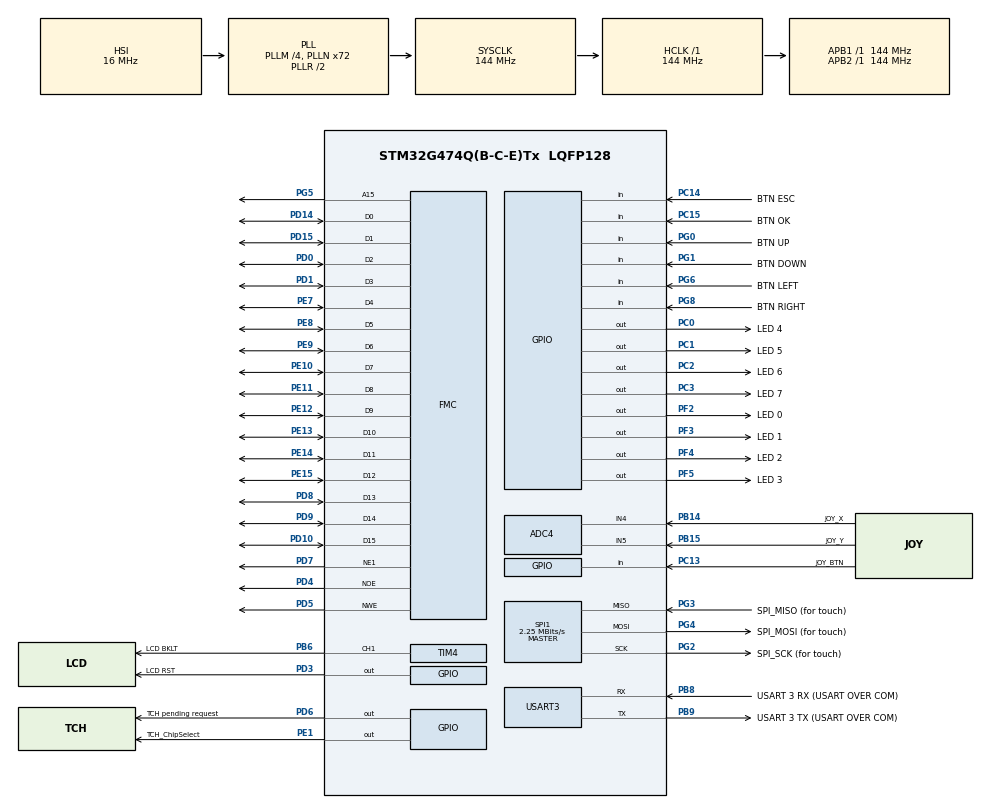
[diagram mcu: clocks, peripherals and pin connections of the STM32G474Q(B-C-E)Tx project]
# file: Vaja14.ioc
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ADC4.Channel-0\#ChannelRegularConversion=ADC_CHANNEL_4
ADC4.Channel-1\#ChannelRegularConversion=ADC_CHANNEL_5
ADC4.DMAContinuousRequests=ENABLE
ADC4.ExternalTrigConv=ADC_EXTERNALTRIG_T1_TRGO
ADC4.NbrOfConversion=2
ADC4.NbrOfConversionFlag=1
ADC4.OffsetNumber-0\#ChannelRegularConversion=ADC_OFFSET_NONE
ADC4.OffsetNumber-1\#ChannelRegularConversion=ADC_OFFSET_NONE
ADC4.Rank-0\#ChannelRegularConversion=1
ADC4.Rank-1\#ChannelRegularConversion=2
ADC4.SamplingTime-0\#ChannelRegularConversion=ADC_SAMPLETIME_640CYCLES_5
ADC4.SamplingTime-1\#ChannelRegularConversion=ADC_SAMPLETIME_640CYCLES_5
Dma.ADC4.0.Direction=DMA_PERIPH_TO_MEMORY
Dma.ADC4.0.EventEnable=DISABLE
Dma.ADC4.0.Instance=DMA1_Channel1
Dma.ADC4.0.MemDataAlignment=DMA_MDATAALIGN_HALFWORD
Dma.ADC4.0.MemInc=DMA_MINC_ENABLE
Dma.ADC4.0.Mode=DMA_CIRCULAR
Dma.ADC4.0.PeriphDataAlignment=DMA_PDATAALIGN_HALFWORD
Dma.ADC4.0.PeriphInc=DMA_PINC_DISABLE
Dma.ADC4.0.Polarity=HAL_DMAMUX_REQ_GEN_RISING
Dma.ADC4.0.Priority=DMA_PRIORITY_LOW
Dma.ADC4.0.RequestNumber=1
Dma.ADC4.0.SignalID=NONE
Dma.ADC4.0.SyncEnable=DISABLE
Dma.ADC4.0.SyncPolarity=HAL_DMAMUX_SYNC_NO_EVENT
Dma.ADC4.0.SyncRequestNumber=1
Dma.ADC4.0.SyncSignalID=NONE
Dma.Request0=ADC4
FMC.AddressSetupTime1=1
FMC.BusTurnAroundDuration1=1
FMC.DataHoldTime1=1
FMC.DataSetupTime1=1
Mcu.Family=STM32G4
Mcu.Name=STM32G474Q(B-C-E)Tx
Mcu.Package=LQFP128
NVIC.DMA1_Channel1_IRQn=true\:0\:0\:false\:false\:true\:false\:true\:true
NVIC.PriorityGroup=NVIC_PRIORITYGROUP_4
NVIC.TIM6_DAC_IRQn=true\:15\:0\:true\:false\:true\:true\:true\:true
NVIC.USART3_IRQn=true\:0\:0\:false\:false\:true\:true\:true\:true
PB14.GPIO_Label=JOY_X
PB14.Mode=IN4-Single-Ended
PB14.Signal=ADC4_IN4
PB15.GPIO_Label=JOY_Y
PB15.Mode=IN5-Single-Ended
PB15.Signal=ADC4_IN5
PB6.GPIO_Label=LCD BKLT
PB6.Signal=S_TIM4_CH1
PB8-BOOT0.GPIO_Label=USART 3 RX (USART OVER COM)
PB8-BOOT0.Mode=Asynchronous
PB8-BOOT0.Signal=USART3_RX
PB9.GPIO_Label=USART 3 TX (USART OVER COM)
PB9.Mode=Asynchronous
PB9.Signal=USART3_TX
PC0.GPIO_Label=LED 4
PC0.GPIO_PuPd=GPIO_NOPULL
PC0.Signal=GPIO_Output
PC1.GPIO_Label=LED 5
PC1.Signal=GPIO_Output
PC13.GPIO_Label=JOY_BTN
PC13.GPIO_PuPd=GPIO_PULLUP
PC13.Signal=GPIO_Input
PC14-OSC32_IN.GPIO_Label=BTN ESC
PC14-OSC32_IN.GPIO_PuPd=GPIO_PULLUP
PC14-OSC32_IN.Signal=GPIO_Input
PC15-OSC32_OUT.GPIO_Label=BTN OK
PC15-OSC32_OUT.GPIO_PuPd=GPIO_PULLUP
PC15-OSC32_OUT.Signal=GPIO_Input
PC2.GPIO_Label=LED 6
PC2.Signal=GPIO_Output
PC3.GPIO_Label=LED 7
PC3.Signal=GPIO_Output
PD0.Signal=FMC_D2_DA2
PD1.Signal=FMC_D3_DA3
PD10.Signal=FMC_D15_DA15
PD14.Signal=FMC_D0_DA0
PD15.Signal=FMC_D1_DA1
PD3.GPIO_Label=LCD RST
PD3.GPIO_ModeDefaultOutputPP=GPIO_MODE_OUTPUT_PP
PD3.Signal=GPIO_Output
PD4.Signal=FMC_NOE
PD5.Signal=FMC_NWE
PD6.GPIO_Label=TCH pending request
PD6.Signal=GPIO_Output
PD7.Mode=NorPsramChipSelect1_1
PD7.Signal=FMC_NE1
PD8.Signal=FMC_D13_DA13
PD9.Signal=FMC_D14_DA14
PE1.GPIO_Label=TCH_ChipSelect
PE1.Signal=GPIO_Output
PE10.Signal=FMC_D7_DA7
PE11.Signal=FMC_D8_DA8
PE12.Signal=FMC_D9_DA9
PE13.Signal=FMC_D10_DA10
PE14.Signal=FMC_D11_DA11
PE15.Signal=FMC_D12_DA12
PE7.Signal=FMC_D4_DA4
PE8.Signal=FMC_D5_DA5
PE9.Signal=FMC_D6_DA6
PF2.GPIO_Label=LED 0
PF2.Signal=GPIO_Output
PF3.GPIO_Label=LED 1
PF3.Signal=GPIO_Output
PF4.GPIO_Label=LED 2
PF4.Signal=GPIO_Output
PF5.GPIO_Label=LED 3
PF5.Signal=GPIO_Output
PG0.GPIO_Label=BTN UP
PG0.GPIO_PuPd=GPIO_PULLUP
PG0.Signal=GPIO_Input
PG1.GPIO_Label=BTN DOWN
PG1.GPIO_PuPd=GPIO_PULLUP
PG1.Signal=GPIO_Input
PG2.GPIO_Label=SPI_SCK (for touch)
PG2.Mode=Full_Duplex_Master
PG2.Signal=SPI1_SCK
PG3.GPIO_Label=SPI_MISO (for touch)
PG3.Mode=Full_Duplex_Master
PG3.Signal=SPI1_MISO
PG4.GPIO_Label=SPI_MOSI (for touch)
PG4.Mode=Full_Duplex_Master
PG4.Signal=SPI1_MOSI
PG5.Signal=FMC_A15
PG6.GPIO_Label=BTN LEFT
PG6.GPIO_PuPd=GPIO_PULLUP
PG6.Signal=GPIO_Input
PG8.GPIO_Label=BTN RIGHT
PG8.GPIO_PuPd=GPIO_PULLUP
PG8.Signal=GPIO_Input
ProjectManager.HeapSize=0x200
ProjectManager.StackSize=0x400
ProjectManager.TargetToolchain=STM32CubeIDE
RCC.ADC12Freq_Value=144000000
RCC.ADC345Freq_Value=144000000
RCC.AHBFreq_Value=144000000
RCC.APB1Freq_Value=144000000
RCC.APB1TimFreq_Value=144000000
RCC.APB2Freq_Value=144000000
RCC.APB2TimFreq_Value=144000000
RCC.CK48CLockSelection=RCC_USBCLKSOURCE_HSI48
RCC.CortexFreq_Value=144000000
RCC.EXTERNAL_CLOCK_VALUE=12288000
RCC.HCLKFreq_Value=144000000
RCC.HSE_VALUE=8000000
RCC.HSI48_VALUE=48000000
RCC.HSI_VALUE=16000000
RCC.LSE_VALUE=32768
RCC.PLLM=RCC_PLLM_DIV4
RCC.PLLN=72
RCC.SYSCLKFreq_VALUE=144000000
RCC.SYSCLKSource=RCC_SYSCLKSOURCE_PLLCLK
RCC.USBFreq_Value=48000000
RCC.VCOOutputFreq_Value=288000000
SH.FMC_A15.0=FMC_A15,A15_1
SH.FMC_D0_DA0.0=FMC_D0,16b-d1
SH.FMC_D10_DA10.0=FMC_D10,16b-d1
SH.FMC_D11_DA11.0=FMC_D11,16b-d1
SH.FMC_D12_DA12.0=FMC_D12,16b-d1
SH.FMC_D13_DA13.0=FMC_D13,16b-d1
SH.FMC_D14_DA14.0=FMC_D14,16b-d1
SH.FMC_D15_DA15.0=FMC_D15,16b-d1
SH.FMC_D1_DA1.0=FMC_D1,16b-d1
SH.FMC_D2_DA2.0=FMC_D2,16b-d1
SH.FMC_D3_DA3.0=FMC_D3,16b-d1
SH.FMC_D4_DA4.0=FMC_D4,16b-d1
SH.FMC_D5_DA5.0=FMC_D5,16b-d1
SH.FMC_D6_DA6.0=FMC_D6,16b-d1
SH.FMC_D7_DA7.0=FMC_D7,16b-d1
SH.FMC_D8_DA8.0=FMC_D8,16b-d1
SH.FMC_D9_DA9.0=FMC_D9,16b-d1
SH.FMC_NOE.0=FMC_NOE,Lcd1
SH.FMC_NWE.0=FMC_NWE,Lcd1
SH.S_TIM4_CH1.0=TIM4_CH1,PWM Generation1 CH1
SPI1.BaudRatePrescaler=SPI_BAUDRATEPRESCALER_64
SPI1.CalculateBaudRate=2.25 MBits/s
SPI1.DataSize=SPI_DATASIZE_8BIT
SPI1.Direction=SPI_DIRECTION_2LINES
SPI1.Mode=SPI_MODE_MASTER
SPI1.NSSPMode=SPI_NSS_PULSE_DISABLE
SPI1.VirtualType=VM_MASTER
TIM1.PeriodNoDither=90
TIM1.Prescaler=14399
TIM1.TIM_MasterOutputTrigger=TIM_TRGO_UPDATE
TIM4.Channel-PWM\ Generation1\ CH1=TIM_CHANNEL_1
TIM4.PeriodNoDither=99
TIM4.Prescaler=1439
TIM6.PeriodNoDither=49999
TIM6.Prescaler=143
USART3.OverrunDisableParam=ADVFEATURE_OVERRUN_DISABLE
USART3.VirtualMode-Asynchronous=VM_ASYNC
VP_SYS_VS_DBSignals.Mode=DisableDeadBatterySignals
VP_TIM1_VS_ClockSourceINT.Mode=Internal
VP_TIM4_VS_ClockSourceINT.Mode=Internal
VP_TIM6_VS_ClockSourceINT.Mode=Enable_Timer
board=custom

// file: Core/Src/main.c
/* USER CODE BEGIN Header */
/**
  ******************************************************************************
  * @file           : main.c
  * @brief          : Main program body
  ******************************************************************************
  * @attention
  *
  * Copyright (c) 2022 STMicroelectronics.
  * All rights reserved.
  *
  * This software is licensed under terms that can be found in the LICENSE file
  * in the root directory of this software component.
  * If no LICENSE file comes with this software, it is provided AS-IS.
  *
  ******************************************************************************
  */
/* USER CODE END Header */
#include "main.h"

/* USER CODE BEGIN Includes */
#include "LED.h"
#include "kbd.h"
#include "buf.h"
#include "SCI.h"
#include "timing_utils.h"
#include "periodic_services.h"
#include "lcd_backlight.h"
#include "lcd.h"
#include "joystick.h"
#include "objects.h"
#include "graphics.h"
#include "game.h"

/* USER CODE END Includes */

ADC_HandleTypeDef hadc4;
DMA_HandleTypeDef hdma_adc4;

SPI_HandleTypeDef hspi1;

TIM_HandleTypeDef htim1;

SRAM_HandleTypeDef hsram1;

void SystemClock_Config(void);
static void MX_GPIO_Init(void);
static void MX_USART3_UART_Init(void);
static void MX_TIM6_Init(void);
static void MX_TIM4_Init(void);
static void MX_FMC_Init(void);
static void MX_DMA_Init(void);
static void MX_ADC4_Init(void);
static void MX_TIM1_Init(void);
static void MX_SPI1_Init(void);

int main(void)
{

  /* MCU Configuration--------------------------------------------------------*/

  /* Reset of all peripherals, Initializes the Flash interface and the Systick. */
  HAL_Init();

  /* Configure the system clock */
  SystemClock_Config();

  /* Initialize all configured peripherals */
  MX_GPIO_Init();
  MX_USART3_UART_Init();
  MX_TIM6_Init();
  MX_TIM4_Init();
  MX_FMC_Init();
  MX_DMA_Init();
  MX_ADC4_Init();
  MX_TIM1_Init();
  MX_SPI1_Init();

  /* Infinite loop */
  /* USER CODE BEGIN WHILE */

/////	INIT FUNCTIONS	 //////////////////////////////////
  LED_init();
  KBD_init();
  SCI_init();
  PSERV_init();
  PSERV_enable(); 	//ZaĹžene periodic services (branje tipkovnice)
  LCD_Init(); 		//Vsebuje tudi init za backlight
  LCD_uGUI_init();
  JOY_init(&hadc4, &htim1);

  LCD_uGUI_demo_Misko3();
  HAL_Delay(1000);

/*
  //Prvi znak zivljenja

  for(int i = 0; i < 4; i++)
  {
  	  LCD_uGUI_demo_Misko3();
  	  LCD_uGUI_demo_Misko3(); //To mi deli borut
	  LEDs_on(0b10100101);
	  HAL_Delay(200);
	  LEDs_off(LEDs_read());
	  LEDs_on(0b01011010);

	  LEDs_off(LEDs_read());
  }
//*/

/////	DEMO FUNKCIJE 	///////////////////////////

  //LED_demo();

  //SCI_demo_Hello_world();
  /*
  SCI_send_char('B');
  printf("Hello world");
  SCI_demo_Hello_world_printf();
  SCI_demo_echo_with_polling();
  //*/

 // SCI_demo_receive_with_interrupts();
 //SCI_demo_transmit_with_interrupts();
 //SCI_demo_echo_with_interrupts();

  //LCD_BKLT_demo();

  //LCD_demo_simple();

  //TIMUT_stopwatch_demo();
  //JOY_calibrate(); //to ne rabis vec ker je kalibracija ze shranjena

  //GFX_demo();

  while (1)
  {
	  //JOY_LED_demo();

	  //HAL_PWR_EnterSLEEPMode(PWR_MAINREGULATOR_ON, PWR_SLEEPENTRY_WFI); //pospravi qC v spanje
	  //LCD_TCH_demo();
	  //JOY_SCI_send_status();
	  //HAL_Delay(100);

	  Game();

	 //Ne tipkaj tle not k se ti bo zbrisal!!
    /* USER CODE END WHILE */

  }
}

void SystemClock_Config(void)
{
  RCC_OscInitTypeDef RCC_OscInitStruct = {0};
  RCC_ClkInitTypeDef RCC_ClkInitStruct = {0};

  /** Configure the main internal regulator output voltage
  */
  HAL_PWREx_ControlVoltageScaling(PWR_REGULATOR_VOLTAGE_SCALE1);
  /** Initializes the RCC Oscillators according to the specified parameters
  * in the RCC_OscInitTypeDef structure.
  */
  RCC_OscInitStruct.OscillatorType = RCC_OSCILLATORTYPE_HSI;
  RCC_OscInitStruct.HSIState = RCC_HSI_ON;
  RCC_OscInitStruct.HSICalibrationValue = RCC_HSICALIBRATION_DEFAULT;
  RCC_OscInitStruct.PLL.PLLState = RCC_PLL_ON;
  RCC_OscInitStruct.PLL.PLLSource = RCC_PLLSOURCE_HSI;
  RCC_OscInitStruct.PLL.PLLM = RCC_PLLM_DIV4;
  RCC_OscInitStruct.PLL.PLLN = 72;
  RCC_OscInitStruct.PLL.PLLP = RCC_PLLP_DIV2;
  RCC_OscInitStruct.PLL.PLLQ = RCC_PLLQ_DIV2;
  RCC_OscInitStruct.PLL.PLLR = RCC_PLLR_DIV2;
  if (HAL_RCC_OscConfig(&RCC_OscInitStruct) != HAL_OK)
  {
    Error_Handler();
  }
  /** Initializes the CPU, AHB and APB buses clocks
  */
  RCC_ClkInitStruct.ClockType = RCC_CLOCKTYPE_HCLK|RCC_CLOCKTYPE_SYSCLK
                              |RCC_CLOCKTYPE_PCLK1|RCC_CLOCKTYPE_PCLK2;
  RCC_ClkInitStruct.SYSCLKSource = RCC_SYSCLKSOURCE_PLLCLK;
  RCC_ClkInitStruct.AHBCLKDivider = RCC_SYSCLK_DIV1;
  RCC_ClkInitStruct.APB1CLKDivider = RCC_HCLK_DIV1;
  RCC_ClkInitStruct.APB2CLKDivider = RCC_HCLK_DIV1;

  if (HAL_RCC_ClockConfig(&RCC_ClkInitStruct, FLASH_LATENCY_4) != HAL_OK)
  {
    Error_Handler();
  }
}

static void MX_ADC4_Init(void)
{

  ADC_ChannelConfTypeDef sConfig = {0};

  /** Common config
  */
  hadc4.Instance = ADC4;
  hadc4.Init.ClockPrescaler = ADC_CLOCK_SYNC_PCLK_DIV4;
  hadc4.Init.Resolution = ADC_RESOLUTION_12B;
  hadc4.Init.DataAlign = ADC_DATAALIGN_RIGHT;
  hadc4.Init.GainCompensation = 0;
  hadc4.Init.ScanConvMode = ADC_SCAN_ENABLE;
  hadc4.Init.EOCSelection = ADC_EOC_SINGLE_CONV;
  hadc4.Init.LowPowerAutoWait = DISABLE;
  hadc4.Init.ContinuousConvMode = DISABLE;
  hadc4.Init.NbrOfConversion = 2;
  hadc4.Init.DiscontinuousConvMode = DISABLE;
  hadc4.Init.ExternalTrigConv = ADC_EXTERNALTRIG_T1_TRGO;
  hadc4.Init.ExternalTrigConvEdge = ADC_EXTERNALTRIGCONVEDGE_RISING;
  hadc4.Init.DMAContinuousRequests = ENABLE;
  hadc4.Init.Overrun = ADC_OVR_DATA_PRESERVED;
  hadc4.Init.OversamplingMode = DISABLE;
  if (HAL_ADC_Init(&hadc4) != HAL_OK)
  {
    Error_Handler();
  }
  /** Configure Regular Channel
  */
  sConfig.Channel = ADC_CHANNEL_4;
  sConfig.Rank = ADC_REGULAR_RANK_1;
  sConfig.SamplingTime = ADC_SAMPLETIME_640CYCLES_5;
  sConfig.SingleDiff = ADC_SINGLE_ENDED;
  sConfig.OffsetNumber = ADC_OFFSET_NONE;
  sConfig.Offset = 0;
  if (HAL_ADC_ConfigChannel(&hadc4, &sConfig) != HAL_OK)
  {
    Error_Handler();
  }
  /** Configure Regular Channel
  */
  sConfig.Channel = ADC_CHANNEL_5;
  sConfig.Rank = ADC_REGULAR_RANK_2;
  if (HAL_ADC_ConfigChannel(&hadc4, &sConfig) != HAL_OK)
  {
    Error_Handler();
  }

}

static void MX_SPI1_Init(void)
{

  /* SPI1 parameter configuration*/
  hspi1.Instance = SPI1;
  hspi1.Init.Mode = SPI_MODE_MASTER;
  hspi1.Init.Direction = SPI_DIRECTION_2LINES;
  hspi1.Init.DataSize = SPI_DATASIZE_8BIT;
  hspi1.Init.CLKPolarity = SPI_POLARITY_LOW;
  hspi1.Init.CLKPhase = SPI_PHASE_1EDGE;
  hspi1.Init.NSS = SPI_NSS_SOFT;
  hspi1.Init.BaudRatePrescaler = SPI_BAUDRATEPRESCALER_64;
  hspi1.Init.FirstBit = SPI_FIRSTBIT_MSB;
  hspi1.Init.TIMode = SPI_TIMODE_DISABLE;
  hspi1.Init.CRCCalculation = SPI_CRCCALCULATION_DISABLE;
  hspi1.Init.CRCPolynomial = 7;
  hspi1.Init.CRCLength = SPI_CRC_LENGTH_DATASIZE;
  hspi1.Init.NSSPMode = SPI_NSS_PULSE_DISABLE;
  if (HAL_SPI_Init(&hspi1) != HAL_OK)
  {
    Error_Handler();
  }

}

static void MX_TIM1_Init(void)
{

  TIM_ClockConfigTypeDef sClockSourceConfig = {0};
  TIM_MasterConfigTypeDef sMasterConfig = {0};

  htim1.Instance = TIM1;
  htim1.Init.Prescaler = 14399;
  htim1.Init.CounterMode = TIM_COUNTERMODE_UP;
  htim1.Init.Period = 90;
  htim1.Init.ClockDivision = TIM_CLOCKDIVISION_DIV1;
  htim1.Init.RepetitionCounter = 0;
  htim1.Init.AutoReloadPreload = TIM_AUTORELOAD_PRELOAD_DISABLE;
  if (HAL_TIM_Base_Init(&htim1) != HAL_OK)
  {
    Error_Handler();
  }
  sClockSourceConfig.ClockSource = TIM_CLOCKSOURCE_INTERNAL;
  if (HAL_TIM_ConfigClockSource(&htim1, &sClockSourceConfig) != HAL_OK)
  {
    Error_Handler();
  }
  sMasterConfig.MasterOutputTrigger = TIM_TRGO_UPDATE;
  sMasterConfig.MasterOutputTrigger2 = TIM_TRGO2_RESET;
  sMasterConfig.MasterSlaveMode = TIM_MASTERSLAVEMODE_DISABLE;
  if (HAL_TIMEx_MasterConfigSynchronization(&htim1, &sMasterConfig) != HAL_OK)
  {
    Error_Handler();
  }

}

static void MX_TIM4_Init(void)
{

  LL_TIM_InitTypeDef TIM_InitStruct = {0};
  LL_TIM_OC_InitTypeDef TIM_OC_InitStruct = {0};

  LL_GPIO_InitTypeDef GPIO_InitStruct = {0};

  /* Peripheral clock enable */
  LL_APB1_GRP1_EnableClock(LL_APB1_GRP1_PERIPH_TIM4);

  TIM_InitStruct.Prescaler = 1439;
  TIM_InitStruct.CounterMode = LL_TIM_COUNTERMODE_UP;
  TIM_InitStruct.Autoreload = 99;
  TIM_InitStruct.ClockDivision = LL_TIM_CLOCKDIVISION_DIV1;
  LL_TIM_Init(TIM4, &TIM_InitStruct);
  LL_TIM_DisableARRPreload(TIM4);
  LL_TIM_SetClockSource(TIM4, LL_TIM_CLOCKSOURCE_INTERNAL);
  LL_TIM_OC_EnablePreload(TIM4, LL_TIM_CHANNEL_CH1);
  TIM_OC_InitStruct.OCMode = LL_TIM_OCMODE_PWM1;
  TIM_OC_InitStruct.OCState = LL_TIM_OCSTATE_DISABLE;
  TIM_OC_InitStruct.OCNState = LL_TIM_OCSTATE_DISABLE;
  TIM_OC_InitStruct.CompareValue = 0;
  TIM_OC_InitStruct.OCPolarity = LL_TIM_OCPOLARITY_HIGH;
  LL_TIM_OC_Init(TIM4, LL_TIM_CHANNEL_CH1, &TIM_OC_InitStruct);
  LL_TIM_OC_DisableFast(TIM4, LL_TIM_CHANNEL_CH1);
  LL_TIM_SetTriggerOutput(TIM4, LL_TIM_TRGO_RESET);
  LL_TIM_DisableMasterSlaveMode(TIM4);
  LL_AHB2_GRP1_EnableClock(LL_AHB2_GRP1_PERIPH_GPIOB);
  /**TIM4 GPIO Configuration
  PB6   ------> TIM4_CH1
  */
  GPIO_InitStruct.Pin = LCD_BKLT_Pin;
  GPIO_InitStruct.Mode = LL_GPIO_MODE_ALTERNATE;
  GPIO_InitStruct.Speed = LL_GPIO_SPEED_FREQ_LOW;
  GPIO_InitStruct.OutputType = LL_GPIO_OUTPUT_PUSHPULL;
  GPIO_InitStruct.Pull = LL_GPIO_PULL_NO;
  GPIO_InitStruct.Alternate = LL_GPIO_AF_2;
  LL_GPIO_Init(LCD_BKLT_GPIO_Port, &GPIO_InitStruct);

}

static void MX_TIM6_Init(void)
{

  LL_TIM_InitTypeDef TIM_InitStruct = {0};

  /* Peripheral clock enable */
  LL_APB1_GRP1_EnableClock(LL_APB1_GRP1_PERIPH_TIM6);

  /* TIM6 interrupt Init */
  NVIC_SetPriority(TIM6_DAC_IRQn, NVIC_EncodePriority(NVIC_GetPriorityGrouping(),15, 0));
  NVIC_EnableIRQ(TIM6_DAC_IRQn);

  TIM_InitStruct.Prescaler = 143;
  TIM_InitStruct.CounterMode = LL_TIM_COUNTERMODE_UP;
  TIM_InitStruct.Autoreload = 49999;
  LL_TIM_Init(TIM6, &TIM_InitStruct);
  LL_TIM_DisableARRPreload(TIM6);
  LL_TIM_SetTriggerOutput(TIM6, LL_TIM_TRGO_RESET);
  LL_TIM_DisableMasterSlaveMode(TIM6);

}

static void MX_USART3_UART_Init(void)
{

  LL_USART_InitTypeDef USART_InitStruct = {0};

  LL_GPIO_InitTypeDef GPIO_InitStruct = {0};
  RCC_PeriphCLKInitTypeDef PeriphClkInit = {0};

  /** Initializes the peripherals clocks
  */
  PeriphClkInit.PeriphClockSelection = RCC_PERIPHCLK_USART3;
  PeriphClkInit.Usart3ClockSelection = RCC_USART3CLKSOURCE_PCLK1;
  if (HAL_RCCEx_PeriphCLKConfig(&PeriphClkInit) != HAL_OK)
  {
    Error_Handler();
  }

  /* Peripheral clock enable */
  LL_APB1_GRP1_EnableClock(LL_APB1_GRP1_PERIPH_USART3);

  LL_AHB2_GRP1_EnableClock(LL_AHB2_GRP1_PERIPH_GPIOB);
  /**USART3 GPIO Configuration
  PB8-BOOT0   ------> USART3_RX
  PB9   ------> USART3_TX
  */
  GPIO_InitStruct.Pin = USART_3_RX_Pin;
  GPIO_InitStruct.Mode = LL_GPIO_MODE_ALTERNATE;
  GPIO_InitStruct.Speed = LL_GPIO_SPEED_FREQ_LOW;
  GPIO_InitStruct.OutputType = LL_GPIO_OUTPUT_PUSHPULL;
  GPIO_InitStruct.Pull = LL_GPIO_PULL_NO;
  GPIO_InitStruct.Alternate = LL_GPIO_AF_7;
  LL_GPIO_Init(USART_3_RX_GPIO_Port, &GPIO_InitStruct);

  GPIO_InitStruct.Pin = USART_3_TX_Pin;
  GPIO_InitStruct.Mode = LL_GPIO_MODE_ALTERNATE;
  GPIO_InitStruct.Speed = LL_GPIO_SPEED_FREQ_LOW;
  GPIO_InitStruct.OutputType = LL_GPIO_OUTPUT_PUSHPULL;
  GPIO_InitStruct.Pull = LL_GPIO_PULL_NO;
  GPIO_InitStruct.Alternate = LL_GPIO_AF_7;
  LL_GPIO_Init(USART_3_TX_GPIO_Port, &GPIO_InitStruct);

  /* USART3 interrupt Init */
  NVIC_SetPriority(USART3_IRQn, NVIC_EncodePriority(NVIC_GetPriorityGrouping(),0, 0));
  NVIC_EnableIRQ(USART3_IRQn);

  USART_InitStruct.PrescalerValue = LL_USART_PRESCALER_DIV1;
  USART_InitStruct.BaudRate = 115200;
  USART_InitStruct.DataWidth = LL_USART_DATAWIDTH_8B;
  USART_InitStruct.StopBits = LL_USART_STOPBITS_1;
  USART_InitStruct.Parity = LL_USART_PARITY_NONE;
  USART_InitStruct.TransferDirection = LL_USART_DIRECTION_TX_RX;
  USART_InitStruct.HardwareFlowControl = LL_USART_HWCONTROL_NONE;
  USART_InitStruct.OverSampling = LL_USART_OVERSAMPLING_16;
  LL_USART_Init(USART3, &USART_InitStruct);
  LL_USART_SetTXFIFOThreshold(USART3, LL_USART_FIFOTHRESHOLD_1_8);
  LL_USART_SetRXFIFOThreshold(USART3, LL_USART_FIFOTHRESHOLD_1_8);
  LL_USART_DisableFIFO(USART3);
  LL_USART_DisableOverrunDetect(USART3);
  LL_USART_ConfigAsyncMode(USART3);

  LL_USART_Enable(USART3);

  /* Polling USART3 initialisation */
  while((!(LL_USART_IsActiveFlag_TEACK(USART3))) || (!(LL_USART_IsActiveFlag_REACK(USART3))))
  {
  }

}

static void MX_DMA_Init(void)
{

  /* DMA controller clock enable */
  __HAL_RCC_DMAMUX1_CLK_ENABLE();
  __HAL_RCC_DMA1_CLK_ENABLE();

  /* DMA interrupt init */
  /* DMA1_Channel1_IRQn interrupt configuration */
  HAL_NVIC_SetPriority(DMA1_Channel1_IRQn, 0, 0);
  HAL_NVIC_EnableIRQ(DMA1_Channel1_IRQn);

}

/* FMC initialization function */
static void MX_FMC_Init(void)
{

  FMC_NORSRAM_TimingTypeDef Timing = {0};

  /** Perform the SRAM1 memory initialization sequence
  */
  hsram1.Instance = FMC_NORSRAM_DEVICE;
  hsram1.Extended = FMC_NORSRAM_EXTENDED_DEVICE;
  /* hsram1.Init */
  hsram1.Init.NSBank = FMC_NORSRAM_BANK1;
  hsram1.Init.DataAddressMux = FMC_DATA_ADDRESS_MUX_DISABLE;
  hsram1.Init.MemoryType = FMC_MEMORY_TYPE_SRAM;
  hsram1.Init.MemoryDataWidth = FMC_NORSRAM_MEM_BUS_WIDTH_16;
  hsram1.Init.BurstAccessMode = FMC_BURST_ACCESS_MODE_DISABLE;
  hsram1.Init.WaitSignalPolarity = FMC_WAIT_SIGNAL_POLARITY_LOW;
  hsram1.Init.WaitSignalActive = FMC_WAIT_TIMING_BEFORE_WS;
  hsram1.Init.WriteOperation = FMC_WRITE_OPERATION_ENABLE;
  hsram1.Init.WaitSignal = FMC_WAIT_SIGNAL_DISABLE;
  hsram1.Init.ExtendedMode = FMC_EXTENDED_MODE_DISABLE;
  hsram1.Init.AsynchronousWait = FMC_ASYNCHRONOUS_WAIT_DISABLE;
  hsram1.Init.WriteBurst = FMC_WRITE_BURST_DISABLE;
  hsram1.Init.ContinuousClock = FMC_CONTINUOUS_CLOCK_SYNC_ONLY;
  hsram1.Init.WriteFifo = FMC_WRITE_FIFO_ENABLE;
  hsram1.Init.NBLSetupTime = 0;
  hsram1.Init.PageSize = FMC_PAGE_SIZE_NONE;
  hsram1.Init.MaxChipSelectPulse = DISABLE;
  /* Timing */
  Timing.AddressSetupTime = 1;
  Timing.AddressHoldTime = 15;
  Timing.DataSetupTime = 1;
  Timing.DataHoldTime = 1;
  Timing.BusTurnAroundDuration = 1;
  Timing.CLKDivision = 16;
  Timing.DataLatency = 17;
  Timing.AccessMode = FMC_ACCESS_MODE_A;
  /* ExtTiming */

  if (HAL_SRAM_Init(&hsram1, &Timing, NULL) != HAL_OK)
  {
    Error_Handler( );
  }

}

static void MX_GPIO_Init(void)
{
  LL_GPIO_InitTypeDef GPIO_InitStruct = {0};

  /* GPIO Ports Clock Enable */
  LL_AHB2_GRP1_EnableClock(LL_AHB2_GRP1_PERIPH_GPIOC);
  LL_AHB2_GRP1_EnableClock(LL_AHB2_GRP1_PERIPH_GPIOF);
  LL_AHB2_GRP1_EnableClock(LL_AHB2_GRP1_PERIPH_GPIOE);
  LL_AHB2_GRP1_EnableClock(LL_AHB2_GRP1_PERIPH_GPIOB);
  LL_AHB2_GRP1_EnableClock(LL_AHB2_GRP1_PERIPH_GPIOD);
  LL_AHB2_GRP1_EnableClock(LL_AHB2_GRP1_PERIPH_GPIOG);

  /**/
  LL_GPIO_ResetOutputPin(LED_1_GPIO_Port, LED_1_Pin);

  /**/
  LL_GPIO_ResetOutputPin(LED_2_GPIO_Port, LED_2_Pin);

  /**/
  LL_GPIO_ResetOutputPin(LED_3_GPIO_Port, LED_3_Pin);

  /**/
  LL_GPIO_ResetOutputPin(LED_4_GPIO_Port, LED_4_Pin);

  /**/
  LL_GPIO_ResetOutputPin(LED_5_GPIO_Port, LED_5_Pin);

  /**/
  LL_GPIO_ResetOutputPin(LED_6_GPIO_Port, LED_6_Pin);

  /**/
  LL_GPIO_ResetOutputPin(LED_7_GPIO_Port, LED_7_Pin);

  /**/
  LL_GPIO_ResetOutputPin(LED_0_GPIO_Port, LED_0_Pin);

  /**/
  LL_GPIO_ResetOutputPin(LCD_RST_GPIO_Port, LCD_RST_Pin);

  /**/
  LL_GPIO_ResetOutputPin(TCH_pending_request_GPIO_Port, TCH_pending_request_Pin);

  /**/
  LL_GPIO_ResetOutputPin(TCH_ChipSelect_GPIO_Port, TCH_ChipSelect_Pin);

  /**/
  GPIO_InitStruct.Pin = JOY_BTN_Pin;
  GPIO_InitStruct.Mode = LL_GPIO_MODE_INPUT;
  GPIO_InitStruct.Pull = LL_GPIO_PULL_UP;
  LL_GPIO_Init(JOY_BTN_GPIO_Port, &GPIO_InitStruct);

  /**/
  GPIO_InitStruct.Pin = BTN_ESC_Pin;
  GPIO_InitStruct.Mode = LL_GPIO_MODE_INPUT;
  GPIO_InitStruct.Pull = LL_GPIO_PULL_UP;
  LL_GPIO_Init(BTN_ESC_GPIO_Port, &GPIO_InitStruct);

  /**/
  GPIO_InitStruct.Pin = BTN_OK_Pin;
  GPIO_InitStruct.Mode = LL_GPIO_MODE_INPUT;
  GPIO_InitStruct.Pull = LL_GPIO_PULL_UP;
  LL_GPIO_Init(BTN_OK_GPIO_Port, &GPIO_InitStruct);

  /**/
  GPIO_InitStruct.Pin = LED_1_Pin;
  GPIO_InitStruct.Mode = LL_GPIO_MODE_OUTPUT;
  GPIO_InitStruct.Speed = LL_GPIO_SPEED_FREQ_LOW;
  GPIO_InitStruct.OutputType = LL_GPIO_OUTPUT_PUSHPULL;
  GPIO_InitStruct.Pull = LL_GPIO_PULL_NO;
  LL_GPIO_Init(LED_1_GPIO_Port, &GPIO_InitStruct);

  /**/
  GPIO_InitStruct.Pin = LED_2_Pin;
  GPIO_InitStruct.Mode = LL_GPIO_MODE_OUTPUT;
  GPIO_InitStruct.Speed = LL_GPIO_SPEED_FREQ_LOW;
  GPIO_InitStruct.OutputType = LL_GPIO_OUTPUT_PUSHPULL;
  GPIO_InitStruct.Pull = LL_GPIO_PULL_NO;
  LL_GPIO_Init(LED_2_GPIO_Port, &GPIO_InitStruct);

  /**/
  GPIO_InitStruct.Pin = LED_3_Pin;
  GPIO_InitStruct.Mode = LL_GPIO_MODE_OUTPUT;
  GPIO_InitStruct.Speed = LL_GPIO_SPEED_FREQ_LOW;
  GPIO_InitStruct.OutputType = LL_GPIO_OUTPUT_PUSHPULL;
  GPIO_InitStruct.Pull = LL_GPIO_PULL_NO;
  LL_GPIO_Init(LED_3_GPIO_Port, &GPIO_InitStruct);

  /**/
  GPIO_InitStruct.Pin = LED_4_Pin;
  GPIO_InitStruct.Mode = LL_GPIO_MODE_OUTPUT;
  GPIO_InitStruct.Speed = LL_GPIO_SPEED_FREQ_LOW;
  GPIO_InitStruct.OutputType = LL_GPIO_OUTPUT_PUSHPULL;
  GPIO_InitStruct.Pull = LL_GPIO_PULL_NO;
  LL_GPIO_Init(LED_4_GPIO_Port, &GPIO_InitStruct);

  /**/
  GPIO_InitStruct.Pin = LED_5_Pin;
  GPIO_InitStruct.Mode = LL_GPIO_MODE_OUTPUT;
  GPIO_InitStruct.Speed = LL_GPIO_SPEED_FREQ_LOW;
  GPIO_InitStruct.OutputType = LL_GPIO_OUTPUT_PUSHPULL;
  GPIO_InitStruct.Pull = LL_GPIO_PULL_NO;
  LL_GPIO_Init(LED_5_GPIO_Port, &GPIO_InitStruct);

  /**/
  GPIO_InitStruct.Pin = LED_6_Pin;
  GPIO_InitStruct.Mode = LL_GPIO_MODE_OUTPUT;
  GPIO_InitStruct.Speed = LL_GPIO_SPEED_FREQ_LOW;
  GPIO_InitStruct.OutputType = LL_GPIO_OUTPUT_PUSHPULL;
  GPIO_InitStruct.Pull = LL_GPIO_PULL_NO;
  LL_GPIO_Init(LED_6_GPIO_Port, &GPIO_InitStruct);

  /**/
  GPIO_InitStruct.Pin = LED_7_Pin;
  GPIO_InitStruct.Mode = LL_GPIO_MODE_OUTPUT;
  GPIO_InitStruct.Speed = LL_GPIO_SPEED_FREQ_LOW;
  GPIO_InitStruct.OutputType = LL_GPIO_OUTPUT_PUSHPULL;
  GPIO_InitStruct.Pull = LL_GPIO_PULL_NO;
  LL_GPIO_Init(LED_7_GPIO_Port, &GPIO_InitStruct);

  /**/
  GPIO_InitStruct.Pin = LED_0_Pin;
  GPIO_InitStruct.Mode = LL_GPIO_MODE_OUTPUT;
  GPIO_InitStruct.Speed = LL_GPIO_SPEED_FREQ_LOW;
  GPIO_InitStruct.OutputType = LL_GPIO_OUTPUT_PUSHPULL;
  GPIO_InitStruct.Pull = LL_GPIO_PULL_NO;
  LL_GPIO_Init(LED_0_GPIO_Port, &GPIO_InitStruct);

  /**/
  GPIO_InitStruct.Pin = BTN_UP_Pin;
  GPIO_InitStruct.Mode = LL_GPIO_MODE_INPUT;
  GPIO_InitStruct.Pull = LL_GPIO_PULL_UP;
  LL_GPIO_Init(BTN_UP_GPIO_Port, &GPIO_InitStruct);

  /**/
  GPIO_InitStruct.Pin = BTN_DOWN_Pin;
  GPIO_InitStruct.Mode = LL_GPIO_MODE_INPUT;
  GPIO_InitStruct.Pull = LL_GPIO_PULL_UP;
  LL_GPIO_Init(BTN_DOWN_GPIO_Port, &GPIO_InitStruct);

  /**/
  GPIO_InitStruct.Pin = BTN_LEFT_Pin;
  GPIO_InitStruct.Mode = LL_GPIO_MODE_INPUT;
  GPIO_InitStruct.Pull = LL_GPIO_PULL_UP;
  LL_GPIO_Init(BTN_LEFT_GPIO_Port, &GPIO_InitStruct);

  /**/
  GPIO_InitStruct.Pin = BTN_RIGHT_Pin;
  GPIO_InitStruct.Mode = LL_GPIO_MODE_INPUT;
  GPIO_InitStruct.Pull = LL_GPIO_PULL_UP;
  LL_GPIO_Init(BTN_RIGHT_GPIO_Port, &GPIO_InitStruct);

  /**/
  GPIO_InitStruct.Pin = LCD_RST_Pin;
  GPIO_InitStruct.Mode = LL_GPIO_MODE_OUTPUT;
  GPIO_InitStruct.Speed = LL_GPIO_SPEED_FREQ_LOW;
  GPIO_InitStruct.OutputType = LL_GPIO_OUTPUT_PUSHPULL;
  GPIO_InitStruct.Pull = LL_GPIO_PULL_NO;
  LL_GPIO_Init(LCD_RST_GPIO_Port, &GPIO_InitStruct);

  /**/
  GPIO_InitStruct.Pin = TCH_pending_request_Pin;
  GPIO_InitStruct.Mode = LL_GPIO_MODE_OUTPUT;
  GPIO_InitStruct.Speed = LL_GPIO_SPEED_FREQ_LOW;
  GPIO_InitStruct.OutputType = LL_GPIO_OUTPUT_PUSHPULL;
  GPIO_InitStruct.Pull = LL_GPIO_PULL_NO;
  LL_GPIO_Init(TCH_pending_request_GPIO_Port, &GPIO_InitStruct);

  /**/
  GPIO_InitStruct.Pin = TCH_ChipSelect_Pin;
  GPIO_InitStruct.Mode = LL_GPIO_MODE_OUTPUT;
  GPIO_InitStruct.Speed = LL_GPIO_SPEED_FREQ_LOW;
  GPIO_InitStruct.OutputType = LL_GPIO_OUTPUT_PUSHPULL;
  GPIO_InitStruct.Pull = LL_GPIO_PULL_NO;
  LL_GPIO_Init(TCH_ChipSelect_GPIO_Port, &GPIO_InitStruct);

}

void Error_Handler(void)
{
  __disable_irq();
  while (1)
  {
  }
}
